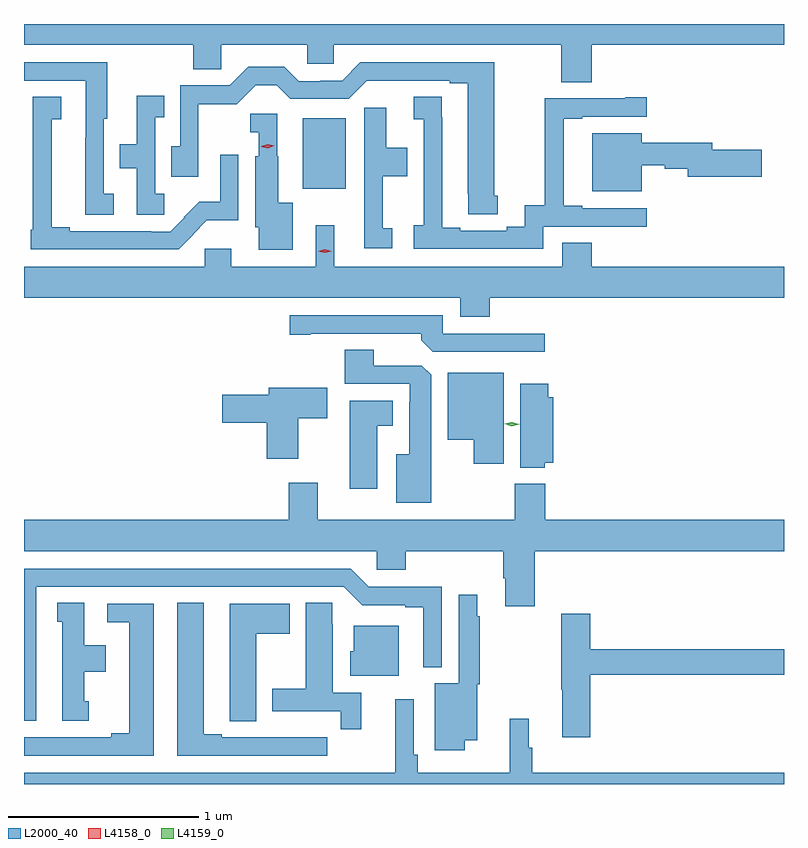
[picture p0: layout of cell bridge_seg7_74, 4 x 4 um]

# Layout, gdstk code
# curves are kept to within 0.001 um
import gdstk
lib = gdstk.Library(unit=1e-6, precision=1e-09)
def R(c, l, rs):  # rectangles x0, y0, x1, y1
    for r in rs: c.add(gdstk.rectangle(r[:2], r[2:], *l))
def P(c, l, *ps):  # polygons
    for p in ps: c.add(gdstk.Polygon(p, *l))
L2000_40 = (2000, 40)
L4158_0 = (4158, 0)
L4159_0 = (4159, 0)

bridge_seg7_74 = lib.new_cell('bridge_seg7_74')
R(bridge_seg7_74, L2000_40, [(1083.062,1033.16,1083.289,1033.531)])
P(bridge_seg7_74, L2000_40, [(1084.583,1033.916),(1085.596,1033.916),(1085.596,1034.026),(1081.596,1034.026),(1081.596,1033.916),(1082.488,1033.916),(1082.488,1033.789),(1082.634,1033.789),(1082.634,1033.916),(1083.087,1033.916),(1083.087,1033.818),(1083.225,1033.818),(1083.225,1033.916),(1084.423,1033.916),(1084.423,1033.72),(1084.583,1033.72)],
  [(1084.09,1033.122),(1084.072,1033.122),(1084.072,1033.824),(1083.366,1033.824),(1083.27,1033.728),(1083.155,1033.728),(1083.155,1033.725),(1083.042,1033.725),(1082.966,1033.801),(1082.776,1033.801),(1082.679,1033.704),(1082.418,1033.704),(1082.418,1033.382),(1082.371,1033.382),(1082.371,1033.221),(1082.514,1033.221),(1082.514,1033.603),(1082.716,1033.603),(1082.816,1033.704),(1082.926,1033.704),(1082.997,1033.632),(1083.306,1033.632),(1083.401,1033.727),(1083.836,1033.728),(1083.836,1033.713),(1083.932,1033.713),(1083.933,1033.024),(1084.09,1033.024)],
  [(1082.068,1033.132),(1082.016,1033.132),(1082.016,1033.527),(1082.035,1033.527),(1082.035,1033.824),(1081.596,1033.824),(1081.596,1033.728),(1081.92,1033.728),(1081.92,1033.427),(1081.919,1033.427),(1081.919,1033.021),(1082.068,1033.021)],
  [(1082.335,1033.132),(1082.286,1033.132),(1082.286,1033.535),(1082.333,1033.535),(1082.333,1033.648),(1082.189,1033.648),(1082.189,1033.394),(1082.101,1033.394),(1082.101,1033.266),(1082.19,1033.266),(1082.19,1033.021),(1082.335,1033.021)],
  [(1084.329,1032.96),(1084.873,1032.96),(1084.873,1033.056),(1084.534,1033.056),(1084.534,1033.069),(1084.438,1033.069),(1084.438,1033.527),(1084.534,1033.527),(1084.534,1033.539),(1084.873,1033.539),(1084.873,1033.64),(1084.76,1033.64),(1084.76,1033.635),(1084.336,1033.635),(1084.336,1033.072),(1084.232,1033.072),(1084.232,1032.958),(1084.136,1032.958),(1084.136,1032.939),(1083.892,1032.939),(1083.892,1032.954),(1083.796,1032.954),(1083.796,1033.535),(1083.795,1033.535),(1083.795,1033.643),(1083.648,1033.643),(1083.648,1033.525),(1083.699,1033.525),(1083.699,1032.967),(1083.648,1032.967),(1083.648,1032.843),(1084.329,1032.843)],
  [(1082.488,1032.917),(1082.486,1032.92),(1082.559,1032.993),(1082.724,1032.993),(1082.724,1033.339),(1082.628,1033.339),(1082.628,1033.091),(1082.519,1033.091),(1082.436,1033.008),(1082.439,1033.005),(1082.367,1032.933),(1082.267,1032.933),(1082.267,1032.936),(1081.837,1032.936),(1081.837,1032.956),(1081.742,1032.956),(1081.742,1033.525),(1081.792,1033.525),(1081.792,1033.643),(1081.643,1033.643),(1081.643,1032.943),(1081.632,1032.943),(1081.632,1032.84),(1082.41,1032.84)],
  [(1083.535,1032.951),(1083.485,1032.951),(1083.485,1033.226),(1083.614,1033.226),(1083.614,1033.374),(1083.502,1033.374),(1083.502,1033.585),(1083.386,1033.585),(1083.386,1032.846),(1083.535,1032.846)],
  [(1083.01,1033.084),(1082.935,1033.084),(1082.935,1033.329),(1082.929,1033.329),(1082.929,1033.554),(1082.787,1033.554),(1082.787,1033.455),(1082.832,1033.455),(1082.832,1033.329),(1082.813,1033.329),(1082.813,1032.957),(1082.831,1032.957),(1082.831,1032.839),(1083.01,1032.839)],
  [(1084.846,1033.282),(1084.968,1033.282),(1084.968,1033.264),(1085.09,1033.264),(1085.09,1033.222),(1085.479,1033.222),(1085.479,1033.364),(1085.218,1033.364),(1085.218,1033.4),(1084.846,1033.4),(1084.846,1033.45),(1084.586,1033.45),(1084.586,1033.145),(1084.846,1033.145)],
  [(1084.046,1032.584),(1085.596,1032.584),(1085.596,1032.748),(1084.583,1032.748),(1084.583,1032.875),(1084.43,1032.875),(1084.43,1032.748),(1083.229,1032.748),(1083.229,1032.967),(1083.132,1032.967),(1083.132,1032.748),(1082.686,1032.748),(1082.686,1032.844),(1082.547,1032.844),(1082.547,1032.748),(1081.596,1032.748),(1081.596,1032.584),(1083.893,1032.584),(1083.893,1032.485),(1084.046,1032.485)],
  [(1084.336,1032.396),(1083.801,1032.396),(1083.801,1032.492),(1082.994,1032.492),(1082.994,1032.391),(1083.106,1032.391),(1083.106,1032.396),(1083.686,1032.396),(1083.686,1032.362),(1083.747,1032.3),(1084.336,1032.3)],
  [(1083.739,1032.179),(1083.69,1032.228),(1083.436,1032.228),(1083.436,1032.311),(1083.284,1032.311),(1083.284,1032.132),(1083.627,1032.132),(1083.627,1032.035),(1083.623,1032.035),(1083.623,1031.761),(1083.554,1031.761),(1083.554,1031.507),(1083.739,1031.507)],
  [(1084.12,1032.19),(1083.827,1032.19),(1083.827,1031.837),(1083.962,1031.837),(1083.962,1031.712),(1084.12,1031.712)],
  [(1084.338,1031.717),(1084.381,1031.717),(1084.381,1032.061),(1084.355,1032.061),(1084.355,1032.132),(1084.208,1032.132),(1084.208,1031.69),(1084.338,1031.69)],
  [(1083.04,1031.95),(1083.193,1031.95),(1083.193,1032.112),(1082.885,1032.112),(1082.885,1032.074),(1082.64,1032.074),(1082.64,1031.927),(1082.873,1031.927),(1082.873,1031.739),(1083.04,1031.739)],
  [(1083.454,1031.912),(1083.538,1031.912),(1083.538,1032.043),(1083.311,1032.043),(1083.311,1031.58),(1083.454,1031.58)],
  [(1084.283,1031.252),(1085.596,1031.252),(1085.596,1031.416),(1084.34,1031.416),(1084.34,1031.605),(1084.18,1031.605),(1084.18,1031.416),(1083.142,1031.416),(1083.142,1031.611),(1082.99,1031.611),(1082.99,1031.416),(1081.596,1031.416),(1081.596,1031.252),(1083.453,1031.252),(1083.453,1031.154),(1083.605,1031.154),(1083.605,1031.252),(1084.118,1031.252),(1084.118,1031.11),(1084.13,1031.11),(1084.13,1030.962),(1084.283,1030.962)],
  [(1081.66,1031.064),(1083.279,1031.064),(1083.375,1030.968),(1083.602,1030.968),(1083.602,1030.956),(1083.698,1030.956),(1083.698,1030.64),(1083.795,1030.64),(1083.795,1031.064),(1083.411,1031.064),(1083.315,1031.16),(1081.596,1031.16),(1081.596,1030.359),(1081.66,1030.359)],
  [(1083.916,1030.256),(1083.982,1030.256),(1083.982,1030.551),(1083.994,1030.551),(1083.994,1030.91),(1083.982,1030.91),(1083.982,1031.023),(1083.885,1031.023),(1083.885,1030.555),(1083.758,1030.555),(1083.758,1030.203),(1083.916,1030.203)],
  [(1083.193,1030.272),(1083.08,1030.272),(1083.08,1030.273),(1082.914,1030.273),(1082.914,1030.272),(1082.638,1030.272),(1082.638,1030.287),(1082.542,1030.287),(1082.542,1030.979),(1082.402,1030.979),(1082.402,1030.176),(1083.193,1030.176)],
  [(1081.936,1030.461),(1081.912,1030.461),(1081.912,1030.616),(1082.026,1030.616),(1082.026,1030.756),(1081.912,1030.756),(1081.912,1030.979),(1081.772,1030.979),(1081.772,1030.881),(1081.796,1030.881),(1081.796,1030.359),(1081.936,1030.359)],
  [(1083.371,1030.506),(1083.22,1030.506),(1083.22,1030.868),(1083.219,1030.868),(1083.219,1030.979),(1083.08,1030.979),(1083.08,1030.527),(1082.903,1030.527),(1082.903,1030.41),(1083.262,1030.41),(1083.262,1030.314),(1083.371,1030.314)],
  [(1082.818,1030.816),(1082.995,1030.816),(1082.995,1030.975),(1082.678,1030.975),(1082.678,1030.465),(1082.679,1030.465),(1082.679,1030.357),(1082.818,1030.357)],
  [(1082.278,1030.974),(1082.034,1030.974),(1082.034,1030.878),(1082.15,1030.878),(1082.15,1030.292),(1082.054,1030.292),(1082.054,1030.272),(1081.596,1030.272),(1081.596,1030.176),(1082.278,1030.176)],
  [(1084.577,1030.6),(1085.596,1030.6),(1085.596,1030.736),(1084.577,1030.736),(1084.577,1030.921),(1084.423,1030.921),(1084.423,1030.523),(1084.43,1030.523),(1084.43,1030.272),(1084.577,1030.272)],
  [(1083.568,1030.858),(1083.332,1030.858),(1083.332,1030.725),(1083.314,1030.725),(1083.314,1030.595),(1083.568,1030.595)],
  [(1081.596,1030.026),(1085.596,1030.026),(1085.596,1030.084),(1084.271,1030.084),(1084.271,1030.218),(1084.252,1030.218),(1084.252,1030.369),(1084.153,1030.369),(1084.153,1030.084),(1083.668,1030.084),(1083.668,1030.18),(1083.648,1030.18),(1083.648,1030.471),(1083.551,1030.471),(1083.551,1030.084),(1081.596,1030.084)])
P(bridge_seg7_74, L4158_0, [(1083.18,1032.821),(1083.145,1032.83),(1083.145,1032.831),(1083.145,1032.831),(1083.18,1032.841),(1083.215,1032.831),(1083.215,1032.831),(1083.215,1032.83)],
  [(1082.88,1033.373),(1082.845,1033.381),(1082.844,1033.381),(1082.845,1033.382),(1082.879,1033.393),(1082.914,1033.385),(1082.914,1033.384),(1082.914,1033.384)])
P(bridge_seg7_74, L4159_0, [(1084.164,1031.91),(1084.127,1031.921),(1084.126,1031.921),(1084.127,1031.921),(1084.164,1031.93),(1084.202,1031.92),(1084.202,1031.919),(1084.202,1031.919)])

lib.write_gds('bridge_seg7_74.gds')
